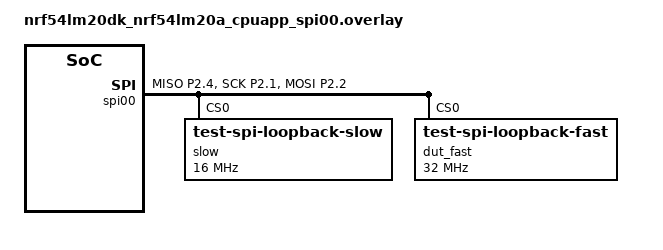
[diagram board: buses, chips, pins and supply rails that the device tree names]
/*
 * Copyright (c) 2025 Nordic Semiconductor ASA
 *
 * SPDX-License-Identifier: Apache-2.0
 */

/* Test requires following loopback:
 * P2.02 - P2.04
 */

&pinctrl {
	spi00_default: spi00_default {
		group1 {
			psels = <NRF_PSEL(SPIM_MISO, 2, 4)>;
		};

		group2 {
			psels = <NRF_PSEL(SPIM_SCK, 2, 1)>,
				<NRF_PSEL(SPIM_MOSI, 2, 2)>;
			nordic,drive-mode = <NRF_DRIVE_E0E1>;
		};
	};

	spi00_sleep: spi00_sleep {
		group1 {
			psels = <NRF_PSEL(SPIM_SCK, 2, 1)>,
				<NRF_PSEL(SPIM_MISO, 2, 4)>,
				<NRF_PSEL(SPIM_MOSI, 2, 2)>;
			low-power-enable;
		};
	};
};

&spi00 {
	status = "okay";
	pinctrl-0 = <&spi00_default>;
	pinctrl-1 = <&spi00_sleep>;
	pinctrl-names = "default", "sleep";
	overrun-character = <0x00>;
	zephyr,pm-device-runtime-auto;

	slow@0 {
		compatible = "test-spi-loopback-slow";
		reg = <0>;
		spi-max-frequency = <DT_FREQ_M(16)>;
	};

	dut_fast: fast@0 {
		compatible = "test-spi-loopback-fast";
		reg = <0>;
		spi-max-frequency = <DT_FREQ_M(32)>;
	};
};

&gpio2 {
	status = "okay";
};
